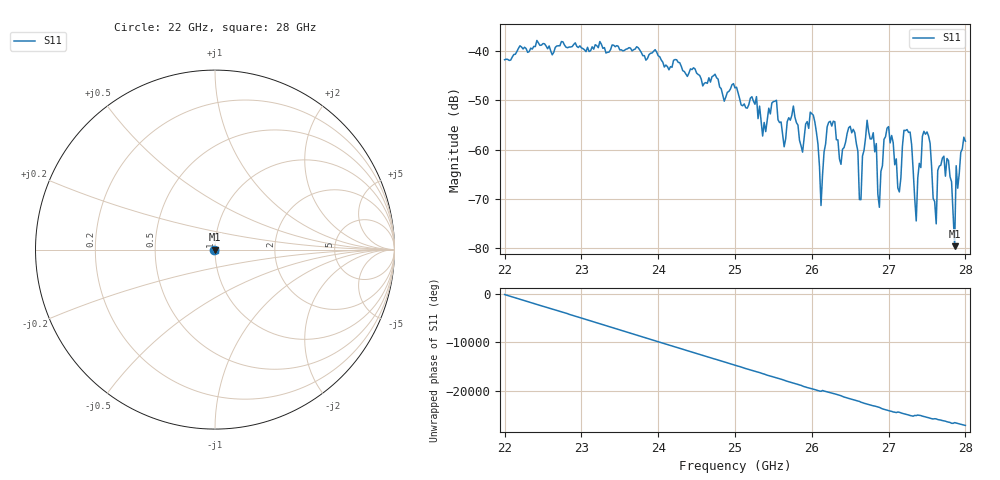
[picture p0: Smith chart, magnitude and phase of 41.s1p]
#  HZ  S  RI  R  50.00
! Rohde & Schwarz ZVA40 4Ports - Version 3.90 - 1145.1110k42 SN: 100403
! Date: 2023-10-04 06:19:29
! Measurement: S12
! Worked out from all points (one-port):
!   301 points, 22 GHz to 28 GHz, reference 50 ohm
!   lowest |S11| = -79.5 dB at 27.86 GHz (marker M1), VSWR 1.00, Z = 50 + j0.0104 ohm
!   |S11| at or under -10 dB: start of sweep to end of sweep
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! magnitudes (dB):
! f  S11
! 22 GHz  -41.8
! 22.76 GHz  -38.1
! 23.5 GHz  -39.8
! 24.26 GHz  -42.3
! 25 GHz  -47.5
! 25.64 GHz  -59.4
! 25.76 GHz  -51.2
! 25.88 GHz  -60.5
! 26.02 GHz  -53.0
! 26.12 GHz  -71.3
! 26.22 GHz  -54.4
! 26.38 GHz  -63.0
! 26.5 GHz  -55.3
! 26.62 GHz  -70.1
! 26.72 GHz  -54.0
! 26.8 GHz  -56.6
! 26.88 GHz  -71.7
! 26.98 GHz  -55.6
! 27.14 GHz  -68.6
! 27.26 GHz  -56.5
! 27.36 GHz  -74.4
! 27.46 GHz  -56.3
! 27.62 GHz  -75.0
! 27.64 GHz  -64.2
! 27.78 GHz  -62.2
! 27.86 GHz  -79.5
! 27.88 GHz  -63.2
! 28 GHz  -58.3
